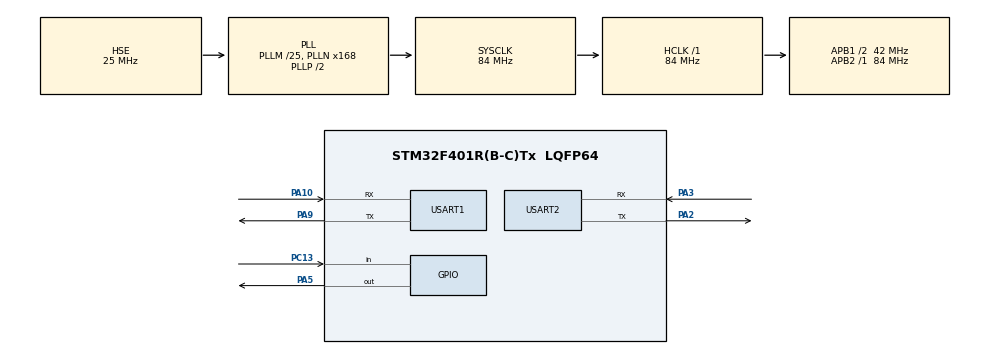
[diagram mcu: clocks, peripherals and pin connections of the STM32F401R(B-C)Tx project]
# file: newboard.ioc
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Mcu.Family=STM32F4
Mcu.Name=STM32F401R(B-C)Tx
Mcu.Package=LQFP64
NVIC.PriorityGroup=NVIC_PRIORITYGROUP_4
PA10.Mode=Asynchronous
PA10.Signal=USART1_RX
PA13.Mode=Serial_Wire
PA13.Signal=SYS_JTMS-SWDIO
PA14.Mode=Serial_Wire
PA14.Signal=SYS_JTCK-SWCLK
PA2.Mode=Asynchronous
PA2.Signal=USART2_TX
PA3.Mode=Asynchronous
PA3.Signal=USART2_RX
PA5.Signal=GPIO_Output
PA9.Mode=Asynchronous
PA9.Signal=USART1_TX
PC13-ANTI_TAMP.Signal=GPIO_Input
PH0\ -\ OSC_IN.Mode=HSE-External-Clock-Source
PH0\ -\ OSC_IN.Signal=RCC_OSC_IN
PH1\ -\ OSC_OUT.Mode=HSE-External-Clock-Source
PH1\ -\ OSC_OUT.Signal=RCC_OSC_OUT
ProjectManager.HeapSize=0x200
ProjectManager.StackSize=0x400
ProjectManager.TargetToolchain=MDK-ARM V5.32
RCC.48MHZClocksFreq_Value=42000000
RCC.AHBFreq_Value=84000000
RCC.APB1CLKDivider=RCC_HCLK_DIV2
RCC.APB1Freq_Value=42000000
RCC.APB1TimFreq_Value=84000000
RCC.APB2Freq_Value=84000000
RCC.APB2TimFreq_Value=84000000
RCC.CortexFreq_Value=84000000
RCC.HCLKFreq_Value=84000000
RCC.HSE_VALUE=25000000
RCC.HSI_VALUE=16000000
RCC.LSE_VALUE=32768
RCC.PLLM=25
RCC.PLLN=168
RCC.PLLSourceVirtual=RCC_PLLSOURCE_HSE
RCC.SYSCLKFreq_VALUE=84000000
RCC.SYSCLKSource=RCC_SYSCLKSOURCE_PLLCLK
RCC.VCOOutputFreq_Value=168000000
USART1.VirtualMode=VM_ASYNC
USART2.VirtualMode=VM_ASYNC
board=custom

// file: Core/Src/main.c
/* USER CODE BEGIN Header */
/**
  ******************************************************************************
  * @file           : main.c
  * @brief          : Main program body
  ******************************************************************************
  * @attention
  *
  * Copyright (c) 2026 STMicroelectronics.
  * All rights reserved.
  *
  * This software is licensed under terms that can be found in the LICENSE file
  * in the root directory of this software component.
  * If no LICENSE file comes with this software, it is provided AS-IS.
  *
  ******************************************************************************
  */
/* USER CODE END Header */
#include "main.h"

UART_HandleTypeDef huart1;
UART_HandleTypeDef huart2;

void SystemClock_Config(void);
static void MX_GPIO_Init(void);
static void MX_USART1_UART_Init(void);
static void MX_USART2_UART_Init(void);

int main(void)
{

  /* MCU Configuration--------------------------------------------------------*/

  /* Reset of all peripherals, Initializes the Flash interface and the Systick. */
  HAL_Init();

  /* Configure the system clock */
  SystemClock_Config();

  /* Initialize all configured peripherals */
  MX_GPIO_Init();
  MX_USART1_UART_Init();
  MX_USART2_UART_Init();
  /* USER CODE BEGIN 2 */
	uint8_t cmd0[] = "ATE0\r\n";
uint8_t cmd1[] = "AT\r\n";
uint8_t cmd2[] = "AT+CWMODE=1\r\n";
uint8_t cmd3[] = "AT+CWDHCP=1,1\r\n";
uint8_t cmd4[] = "AT+CWJAP=\"SNUC\",\"snu12345\"\r\n";
uint8_t cmd5[] = "AT+CWJAP?\r\n";
uint8_t cmd6[] = "AT+CIFSR\r\n";
uint8_t cmd7[] = "AT+CIPMUX=1\r\n";
uint8_t cmd8[] = "AT+CIPSERVER=1,80\r\n";
uint8_t cmd9[] = "AT+CIPSTATUS\r\n";
uint8_t cmd10[] = "AT+CIPSERVER?\r\n";

uint8_t rx[1000];
uint16_t len;

/* ATE0: DISABLE COMMAND ECHO */
HAL_UART_Transmit(&huart1, cmd0, sizeof(cmd0) - 1, HAL_MAX_DELAY); // Send to ESP
HAL_UART_Transmit(&huart2, cmd0, sizeof(cmd0) - 1, HAL_MAX_DELAY); // Show on PC

len = 0;
HAL_UARTEx_ReceiveToIdle(&huart1, rx, sizeof(rx), &len, 2000);     // Listen to ESP

if (len > 0)
{
    HAL_UART_Transmit(&huart2, rx, len, HAL_MAX_DELAY);            // Show response on PC
}
HAL_Delay(500);

/* TEST ESP8266 */
HAL_UART_Transmit(&huart1, cmd1, sizeof(cmd1) - 1, HAL_MAX_DELAY);
HAL_UART_Transmit(&huart2, cmd1, sizeof(cmd1) - 1, HAL_MAX_DELAY);

len = 0;
HAL_UARTEx_ReceiveToIdle(&huart1, rx, sizeof(rx), &len, 2000);

if (len > 0)
{
    HAL_UART_Transmit(&huart2, rx, len, HAL_MAX_DELAY);
}
HAL_Delay(500);

/* STATION MODE */
HAL_UART_Transmit(&huart1, cmd2, sizeof(cmd2) - 1, HAL_MAX_DELAY);
HAL_UART_Transmit(&huart2, cmd2, sizeof(cmd2) - 1, HAL_MAX_DELAY);

len = 0;
HAL_UARTEx_ReceiveToIdle(&huart1, rx, sizeof(rx), &len, 2000);

if (len > 0)
{
    HAL_UART_Transmit(&huart2, rx, len, HAL_MAX_DELAY);
}
HAL_Delay(500);

/* ENABLE DHCP */
HAL_UART_Transmit(&huart1, cmd3, sizeof(cmd3) - 1, HAL_MAX_DELAY);
HAL_UART_Transmit(&huart2, cmd3, sizeof(cmd3) - 1, HAL_MAX_DELAY);

len = 0;
HAL_UARTEx_ReceiveToIdle(&huart1, rx, sizeof(rx), &len, 2000);

if (len > 0)
{
    HAL_UART_Transmit(&huart2, rx, len, HAL_MAX_DELAY);
}
HAL_Delay(500);

/* CONNECT TO HOTSPOT */
HAL_UART_Transmit(&huart1, cmd4, sizeof(cmd4) - 1, HAL_MAX_DELAY);
HAL_UART_Transmit(&huart2, cmd4, sizeof(cmd4) - 1, HAL_MAX_DELAY);

len = 0;
// 30 second timeout is perfect for Wi-Fi connection
HAL_UARTEx_ReceiveToIdle(&huart1, rx, sizeof(rx), &len, 30000);

if (len > 0)
{
    HAL_UART_Transmit(&huart2, rx, len, HAL_MAX_DELAY);
}
HAL_Delay(10000);

/* CHECK WIFI CONNECTION */
HAL_UART_Transmit(&huart1, cmd5, sizeof(cmd5) - 1, HAL_MAX_DELAY);
HAL_UART_Transmit(&huart2, cmd5, sizeof(cmd5) - 1, HAL_MAX_DELAY);

len = 0;
HAL_UARTEx_ReceiveToIdle(&huart1, rx, sizeof(rx), &len, 5000);

if (len > 0)
{
    HAL_UART_Transmit(&huart2, rx, len, HAL_MAX_DELAY);
}
HAL_Delay(500);

/* GET IP ADDRESS */
HAL_UART_Transmit(&huart1, cmd6, sizeof(cmd6) - 1, HAL_MAX_DELAY);
HAL_UART_Transmit(&huart2, cmd6, sizeof(cmd6) - 1, HAL_MAX_DELAY);

len = 0;
HAL_UARTEx_ReceiveToIdle(&huart1, rx, sizeof(rx), &len, 5000);

if (len > 0)
{
    HAL_UART_Transmit(&huart2, rx, len, HAL_MAX_DELAY);
}
HAL_Delay(500);

/* ENABLE MULTIPLE CONNECTIONS */
HAL_UART_Transmit(&huart1, cmd7, sizeof(cmd7) - 1, HAL_MAX_DELAY);
HAL_UART_Transmit(&huart2, cmd7, sizeof(cmd7) - 1, HAL_MAX_DELAY);

len = 0;
HAL_UARTEx_ReceiveToIdle(&huart1, rx, sizeof(rx), &len, 3000);

if (len > 0)
{
    HAL_UART_Transmit(&huart2, rx, len, HAL_MAX_DELAY);
}
HAL_Delay(500);

/* START HTTP SERVER */
HAL_UART_Transmit(&huart1, cmd8, sizeof(cmd8) - 1, HAL_MAX_DELAY);
HAL_UART_Transmit(&huart2, cmd8, sizeof(cmd8) - 1, HAL_MAX_DELAY);

len = 0;
HAL_UARTEx_ReceiveToIdle(&huart1, rx, sizeof(rx), &len, 3000);

if (len > 0)
{
    HAL_UART_Transmit(&huart2, rx, len, HAL_MAX_DELAY);
}
HAL_Delay(500);

/* CHECK SERVER CONFIGURATION */
HAL_UART_Transmit(&huart1, cmd10, sizeof(cmd10) - 1, HAL_MAX_DELAY);
HAL_UART_Transmit(&huart2, cmd10, sizeof(cmd10) - 1, HAL_MAX_DELAY);

len = 0;
HAL_UARTEx_ReceiveToIdle(&huart1, rx, sizeof(rx), &len, 3000);

if (len > 0)
{
    HAL_UART_Transmit(&huart2, rx, len, HAL_MAX_DELAY);
}
HAL_Delay(500);

/* CHECK TCP CONNECTION STATUS */
HAL_UART_Transmit(&huart1, cmd9, sizeof(cmd9) - 1, HAL_MAX_DELAY);
HAL_UART_Transmit(&huart2, cmd9, sizeof(cmd9) - 1, HAL_MAX_DELAY);

len = 0;
HAL_UARTEx_ReceiveToIdle(&huart1, rx, sizeof(rx), &len, 3000);

if (len > 0)
{
    HAL_UART_Transmit(&huart2, rx, len, HAL_MAX_DELAY);
}
HAL_Delay(500);
  /* USER CODE END 2 */

  /* Infinite loop */
  while (1)
  {

  }
}

void SystemClock_Config(void)
{
  RCC_OscInitTypeDef RCC_OscInitStruct = {0};
  RCC_ClkInitTypeDef RCC_ClkInitStruct = {0};

  /** Configure the main internal regulator output voltage
  */
  __HAL_RCC_PWR_CLK_ENABLE();
  __HAL_PWR_VOLTAGESCALING_CONFIG(PWR_REGULATOR_VOLTAGE_SCALE2);

  /** Initializes the RCC Oscillators according to the specified parameters
  * in the RCC_OscInitTypeDef structure.
  */
  RCC_OscInitStruct.OscillatorType = RCC_OSCILLATORTYPE_HSE;
  RCC_OscInitStruct.HSEState = RCC_HSE_BYPASS;
  RCC_OscInitStruct.PLL.PLLState = RCC_PLL_ON;
  RCC_OscInitStruct.PLL.PLLSource = RCC_PLLSOURCE_HSE;
  RCC_OscInitStruct.PLL.PLLM = 25;
  RCC_OscInitStruct.PLL.PLLN = 168;
  RCC_OscInitStruct.PLL.PLLP = RCC_PLLP_DIV2;
  RCC_OscInitStruct.PLL.PLLQ = 4;
  if (HAL_RCC_OscConfig(&RCC_OscInitStruct) != HAL_OK)
  {
    Error_Handler();
  }

  /** Initializes the CPU, AHB and APB buses clocks
  */
  RCC_ClkInitStruct.ClockType = RCC_CLOCKTYPE_HCLK|RCC_CLOCKTYPE_SYSCLK
                              |RCC_CLOCKTYPE_PCLK1|RCC_CLOCKTYPE_PCLK2;
  RCC_ClkInitStruct.SYSCLKSource = RCC_SYSCLKSOURCE_PLLCLK;
  RCC_ClkInitStruct.AHBCLKDivider = RCC_SYSCLK_DIV1;
  RCC_ClkInitStruct.APB1CLKDivider = RCC_HCLK_DIV2;
  RCC_ClkInitStruct.APB2CLKDivider = RCC_HCLK_DIV1;

  if (HAL_RCC_ClockConfig(&RCC_ClkInitStruct, FLASH_LATENCY_2) != HAL_OK)
  {
    Error_Handler();
  }
}

static void MX_USART1_UART_Init(void)
{

  huart1.Instance = USART1;
  huart1.Init.BaudRate = 115200;
  huart1.Init.WordLength = UART_WORDLENGTH_8B;
  huart1.Init.StopBits = UART_STOPBITS_1;
  huart1.Init.Parity = UART_PARITY_NONE;
  huart1.Init.Mode = UART_MODE_TX_RX;
  huart1.Init.HwFlowCtl = UART_HWCONTROL_NONE;
  huart1.Init.OverSampling = UART_OVERSAMPLING_16;
  if (HAL_UART_Init(&huart1) != HAL_OK)
  {
    Error_Handler();
  }

}

static void MX_USART2_UART_Init(void)
{

  huart2.Instance = USART2;
  huart2.Init.BaudRate = 115200;
  huart2.Init.WordLength = UART_WORDLENGTH_8B;
  huart2.Init.StopBits = UART_STOPBITS_1;
  huart2.Init.Parity = UART_PARITY_NONE;
  huart2.Init.Mode = UART_MODE_TX_RX;
  huart2.Init.HwFlowCtl = UART_HWCONTROL_NONE;
  huart2.Init.OverSampling = UART_OVERSAMPLING_16;
  if (HAL_UART_Init(&huart2) != HAL_OK)
  {
    Error_Handler();
  }

}

static void MX_GPIO_Init(void)
{
  GPIO_InitTypeDef GPIO_InitStruct = {0};

  /* GPIO Ports Clock Enable */
  __HAL_RCC_GPIOC_CLK_ENABLE();
  __HAL_RCC_GPIOH_CLK_ENABLE();
  __HAL_RCC_GPIOA_CLK_ENABLE();

  /*Configure GPIO pin Output Level */
  HAL_GPIO_WritePin(GPIOA, GPIO_PIN_5, GPIO_PIN_RESET);

  /*Configure GPIO pin : PC13 */
  GPIO_InitStruct.Pin = GPIO_PIN_13;
  GPIO_InitStruct.Mode = GPIO_MODE_INPUT;
  GPIO_InitStruct.Pull = GPIO_NOPULL;
  HAL_GPIO_Init(GPIOC, &GPIO_InitStruct);

  /*Configure GPIO pin : PA5 */
  GPIO_InitStruct.Pin = GPIO_PIN_5;
  GPIO_InitStruct.Mode = GPIO_MODE_OUTPUT_PP;
  GPIO_InitStruct.Pull = GPIO_NOPULL;
  GPIO_InitStruct.Speed = GPIO_SPEED_FREQ_LOW;
  HAL_GPIO_Init(GPIOA, &GPIO_InitStruct);

}

void Error_Handler(void)
{
  __disable_irq();
  while (1)
  {
  }
}
